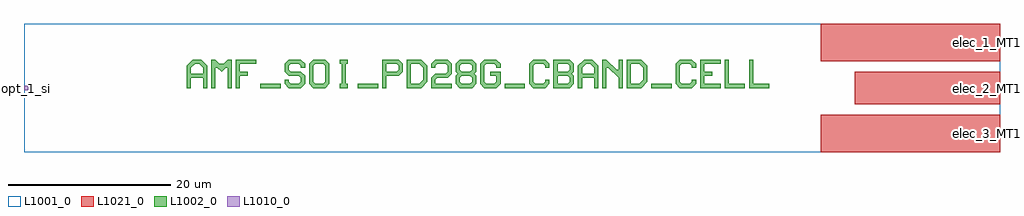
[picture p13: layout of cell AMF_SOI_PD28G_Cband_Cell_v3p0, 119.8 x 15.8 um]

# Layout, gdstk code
import gdstk
lib = gdstk.Library(unit=1e-6, precision=1e-09)
def R(c, l, rs):  # rectangles x0, y0, x1, y1
    for r in rs: c.add(gdstk.rectangle(r[:2], r[2:], *l))
def A(c, l, x, y, w, h, nx, ny, dx, dy):  # array of equal rectangles
    R(c, l, [(x+i*dx, y+j*dy, x+i*dx+w, y+j*dy+h) for i in range(nx) for j in range(ny)])
def P(c, l, *ps):  # polygons
    for p in ps: c.add(gdstk.Polygon(p, *l))
L1001_0 = (1001, 0)
L1002_0 = (1002, 0)
L1010_0 = (1010, 0)
L1021_0 = (1021, 0)

amf_soi_pd28g_cband_cell = lib.new_cell('AMF_SOI_PD28G_Cband_Cell_v3p0')
R(amf_soi_pd28g_cband_cell, L1001_0, [(0,-7.9,119.8,7.9)])
A(amf_soi_pd28g_cband_cell, L1002_0, 40.993, -0.008, 2.5, 0.5, 3, 1, 18, 0)
R(amf_soi_pd28g_cband_cell, L1002_0, [(28.993,-0.008,31.493,0.492)])
P(amf_soi_pd28g_cband_cell, L1002_0, [(19.993,-0.008),(19.993,2.742),(20.743,3.492),(21.743,3.492),(22.243,2.992),(20.993,2.992),(20.493,2.492),(20.493,1.742),(21.993,1.742),(21.993,2.492),(21.493,2.992),(22.243,2.992),(22.493,2.742),(22.493,-0.008),(21.993,-0.008),(21.993,1.242),(20.493,1.242),(20.493,-0.008)],
  [(22.993,-0.008),(22.993,3.492),(23.493,3.492),(23.993,2.992),(24.493,2.992),(24.993,3.492),(25.493,3.492),(25.493,-0.008),(24.993,-0.008),(24.993,2.492),(24.743,2.492),(24.243,1.992),(23.743,2.492),(23.493,2.492),(23.493,-0.008)],
  [(25.993,-0.008),(25.993,3.492),(28.493,3.492),(28.493,2.992),(26.493,2.992),(26.493,1.992),(27.493,1.992),(27.493,1.492),(26.493,1.492),(26.493,-0.008)],
  [(32.493,-0.008),(31.993,0.492),(31.993,0.992),(32.493,0.992),(32.493,0.742),(32.743,0.492),(33.743,0.492),(33.993,0.742),(33.993,1.242),(33.743,1.492),(32.493,1.492),(31.993,1.992),(31.993,2.992),(32.493,3.492),(33.993,3.492),(34.493,2.992),(34.493,2.492),(33.993,2.492),(33.993,2.742),(33.743,2.992),(32.743,2.992),(32.493,2.742),(32.493,2.242),(32.743,1.992),(33.993,1.992),(34.493,1.492),(34.493,0.492),(33.993,-0.008)],
  [(35.493,-0.008),(34.993,0.492),(34.993,2.992),(35.493,3.492),(36.993,3.492),(37.493,2.992),(37.493,1.742),(36.993,1.742),(36.993,2.742),(36.743,2.992),(35.743,2.992),(35.493,2.742),(35.493,0.742),(35.743,0.492),(36.743,0.492),(36.993,0.742),(36.993,1.742),(37.493,1.742),(37.493,0.492),(36.993,-0.008)],
  [(38.743,-0.008),(38.743,0.492),(38.993,0.492),(38.993,2.992),(38.743,2.992),(38.743,3.492),(39.743,3.492),(39.743,2.992),(39.493,2.992),(39.493,0.492),(39.743,0.492),(39.743,-0.008)],
  [(43.993,-0.008),(43.993,3.492),(45.993,3.492),(46.493,2.992),(46.493,1.992),(45.993,1.492),(44.493,1.492),(44.493,1.992),(45.743,1.992),(45.993,2.242),(45.993,2.742),(45.743,2.992),(44.493,2.992),(44.493,-0.008)],
  [(46.993,-0.008),(46.993,3.492),(48.743,3.492),(49.243,2.992),(47.493,2.992),(47.493,0.492),(48.493,0.492),(48.993,0.992),(48.993,2.492),(48.493,2.992),(49.243,2.992),(49.493,2.742),(49.493,0.742),(48.743,-0.008)],
  [(49.993,-0.008),(49.993,1.242),(50.493,1.742),(51.743,1.742),(51.993,1.992),(51.993,2.742),(51.743,2.992),(50.743,2.992),(50.493,2.742),(50.493,2.492),(49.993,2.492),(49.993,2.992),(50.493,3.492),(51.993,3.492),(52.493,2.992),(52.493,1.742),(51.993,1.242),(50.743,1.242),(50.493,0.992),(50.493,0.492),(52.493,0.492),(52.493,-0.008)],
  [(53.493,-0.008),(52.993,0.492),(52.993,1.492),(53.243,1.742),(52.993,1.992),(52.993,2.992),(53.493,3.492),(54.993,3.492),(55.493,2.992),(53.743,2.992),(53.493,2.742),(53.493,2.242),(53.743,1.992),(54.743,1.992),(54.993,2.242),(54.993,2.742),(54.743,2.992),(55.493,2.992),(55.493,1.992),(55.243,1.742),(55.493,1.492),(53.743,1.492),(53.493,1.242),(53.493,0.742),(53.743,0.492),(54.743,0.492),(54.993,0.742),(54.993,1.242),(54.743,1.492),(55.493,1.492),(55.493,0.492),(54.993,-0.008)],
  [(56.493,-0.008),(55.993,0.492),(55.993,2.992),(56.493,3.492),(57.993,3.492),(58.493,2.992),(58.493,2.492),(57.993,2.492),(57.993,2.742),(57.743,2.992),(56.743,2.992),(56.493,2.742),(56.493,0.742),(56.743,0.492),(57.743,0.492),(57.993,0.742),(57.993,1.492),(57.243,1.492),(57.243,1.992),(58.493,1.992),(58.493,0.492),(57.993,-0.008)],
  [(62.493,-0.008),(61.993,0.492),(61.993,2.992),(62.493,3.492),(63.993,3.492),(64.493,2.992),(64.493,2.492),(63.993,2.492),(63.993,2.742),(63.743,2.992),(62.743,2.992),(62.493,2.742),(62.493,0.742),(62.743,0.492),(63.743,0.492),(63.993,0.742),(63.993,0.992),(64.493,0.992),(64.493,0.492),(63.993,-0.008)],
  [(64.993,-0.008),(64.993,3.492),(66.993,3.492),(67.493,2.992),(65.493,2.992),(65.493,1.992),(66.743,1.992),(66.993,2.242),(66.993,2.742),(66.743,2.992),(67.493,2.992),(67.493,1.992),(67.243,1.742),(67.493,1.492),(65.493,1.492),(65.493,0.492),(66.743,0.492),(66.993,0.742),(66.993,1.242),(66.743,1.492),(67.493,1.492),(67.493,0.492),(66.993,-0.008)],
  [(67.993,-0.008),(67.993,2.742),(68.743,3.492),(69.743,3.492),(70.243,2.992),(68.993,2.992),(68.493,2.492),(68.493,1.742),(69.993,1.742),(69.993,2.492),(69.493,2.992),(70.243,2.992),(70.493,2.742),(70.493,-0.008),(69.993,-0.008),(69.993,1.242),(68.493,1.242),(68.493,-0.008)],
  [(70.993,-0.008),(70.993,3.492),(71.493,3.492),(72.743,2.242),(72.993,2.242),(72.993,3.492),(73.493,3.492),(73.493,-0.008),(72.993,-0.008),(72.993,1.242),(71.743,2.492),(71.493,2.492),(71.493,-0.008)],
  [(73.993,-0.008),(73.993,3.492),(75.743,3.492),(76.243,2.992),(74.493,2.992),(74.493,0.492),(75.493,0.492),(75.993,0.992),(75.993,2.492),(75.493,2.992),(76.243,2.992),(76.493,2.742),(76.493,0.742),(75.743,-0.008)],
  [(80.493,-0.008),(79.993,0.492),(79.993,2.992),(80.493,3.492),(81.993,3.492),(82.493,2.992),(82.493,2.492),(81.993,2.492),(81.993,2.742),(81.743,2.992),(80.743,2.992),(80.493,2.742),(80.493,0.742),(80.743,0.492),(81.743,0.492),(81.993,0.742),(81.993,0.992),(82.493,0.992),(82.493,0.492),(81.993,-0.008)],
  [(82.993,-0.008),(82.993,3.492),(85.493,3.492),(85.493,2.992),(83.493,2.992),(83.493,1.992),(84.493,1.992),(84.493,1.492),(83.493,1.492),(83.493,0.492),(85.493,0.492),(85.493,-0.008)],
  [(85.993,-0.008),(85.993,3.492),(86.493,3.492),(86.493,0.492),(88.493,0.492),(88.493,-0.008)],
  [(88.993,-0.008),(88.993,3.492),(89.493,3.492),(89.493,0.492),(91.493,0.492),(91.493,-0.008)])
R(amf_soi_pd28g_cband_cell, L1010_0, [(0,-0.25,0.5,0.25)])
R(amf_soi_pd28g_cband_cell, L1021_0, [(97.8,-7.9,119.8,-3.3), (102,-2,119.8,2), (97.8,3.3,119.8,7.9)])
amf_soi_pd28g_cband_cell.add(gdstk.Label('opt_1_si', (0,0), layer=1010, texttype=0))
amf_soi_pd28g_cband_cell.add(gdstk.Label('elec_1_MT1', (119.8,5.6), layer=1021, texttype=0))
amf_soi_pd28g_cband_cell.add(gdstk.Label('elec_2_MT1', (119.8,0), layer=1021, texttype=0))
amf_soi_pd28g_cband_cell.add(gdstk.Label('elec_3_MT1', (119.8,-5.6), layer=1021, texttype=0))

lib.write_gds('AMF_SOI_PD28G_Cband_Cell_v3p0.gds')
